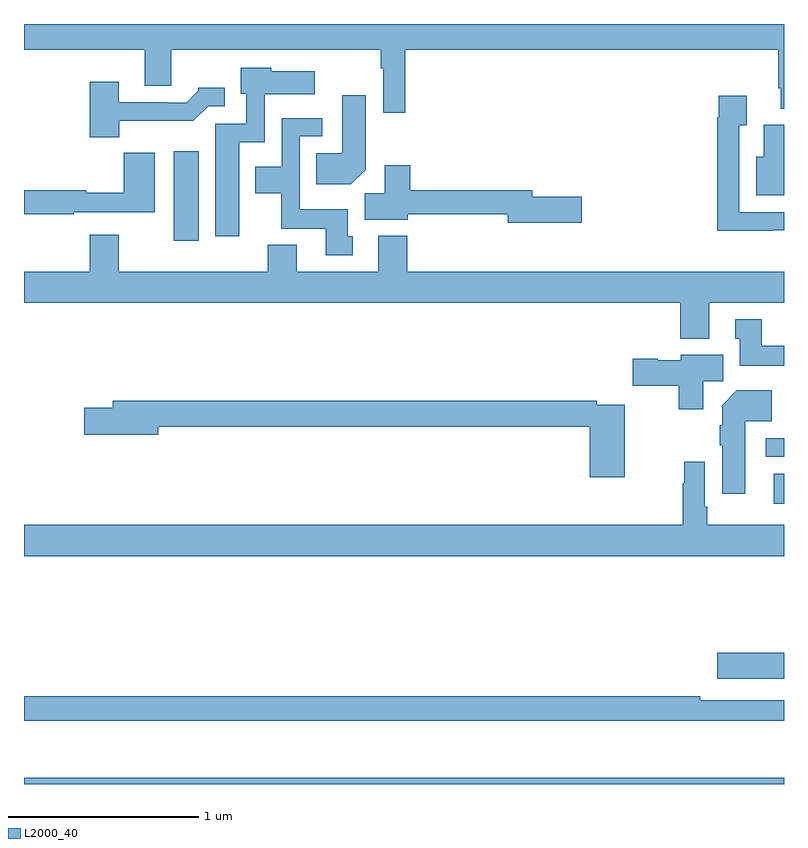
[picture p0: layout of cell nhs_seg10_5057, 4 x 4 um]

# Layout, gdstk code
import gdstk
lib = gdstk.Library(unit=1e-6, precision=1e-09)
def R(c, l, rs):  # rectangles x0, y0, x1, y1
    for r in rs: c.add(gdstk.rectangle(r[:2], r[2:], *l))
def P(c, l, *ps):  # polygons
    for p in ps: c.add(gdstk.Polygon(p, *l))
L2000_40 = (2000, 40)

nhs_seg10_5057 = lib.new_cell('nhs_seg10_5057')
R(nhs_seg10_5057, L2000_40, [(405,1248.5,409,1248.532), (408.648,1249.055,409,1249.19), (408.945,1249.976,409,1250.134), (408.903,1250.223,409,1250.319), (405.788,1251.36,405.919,1251.829)])
P(nhs_seg10_5057, L2000_40, [(408.971,1252.162),(408.983,1252.162),(408.983,1252.055),(409,1252.055),(409,1252.5),(405,1252.5),(405,1252.364),(405.635,1252.364),(405.635,1252.174),(405.775,1252.174),(405.775,1252.364),(406.878,1252.364),(406.878,1252.268),(406.89,1252.268),(406.89,1252.032),(407.006,1252.032),(407.006,1252.364),(408.971,1252.364)],
  [(406.132,1251.878),(406.266,1251.878),(406.266,1252.13),(406.531,1252.13),(406.531,1252.252),(406.302,1252.252),(406.302,1252.27),(406.142,1252.27),(406.142,1252.134),(406.17,1252.134),(406.17,1251.975),(406.007,1251.975),(406.007,1251.384),(406.132,1251.384)],
  [(405.502,1251.99),(405.891,1251.99),(405.969,1252.068),(406.057,1252.068),(406.057,1252.165),(405.918,1252.165),(405.918,1252.15),(405.854,1252.086),(405.755,1252.086),(405.755,1252.089),(405.499,1252.089),(405.499,1252.195),(405.347,1252.195),(405.347,1251.905),(405.502,1251.905)],
  [(406.798,1251.734),(406.798,1252.126),(406.676,1252.126),(406.676,1251.82),(406.537,1251.82),(406.537,1251.656),(406.72,1251.656)],
  [(408.941,1251.414),(409,1251.414),(409,1251.51),(408.765,1251.51),(408.765,1251.967),(408.805,1251.967),(408.805,1252.123),(408.657,1252.123),(408.657,1252.01),(408.649,1252.01),(408.649,1251.413),(408.941,1251.413)],
  [(406.729,1251.384),(406.705,1251.384),(406.705,1251.526),(406.452,1251.526),(406.452,1251.909),(406.57,1251.909),(406.57,1252.005),(406.356,1252.005),(406.356,1251.748),(406.217,1251.748),(406.217,1251.608),(406.354,1251.608),(406.354,1251.422),(406.589,1251.422),(406.589,1251.282),(406.729,1251.282)],
  [(409,1251.97),(408.893,1251.97),(408.893,1251.802),(408.854,1251.802),(408.854,1251.599),(409,1251.599)],
  [(405.263,1251.51),(405.688,1251.51),(405.688,1251.823),(405.526,1251.823),(405.526,1251.611),(405.328,1251.611),(405.328,1251.626),(405,1251.626),(405,1251.498),(405.263,1251.498)],
  [(407.935,1251.59),(407.674,1251.59),(407.674,1251.626),(407.033,1251.626),(407.033,1251.757),(406.898,1251.757),(406.898,1251.608),(406.793,1251.608),(406.793,1251.47),(407.02,1251.47),(407.02,1251.498),(407.546,1251.498),(407.546,1251.455),(407.935,1251.455)],
  [(408.607,1251.032),(409,1251.032),(409,1251.196),(407.018,1251.196),(407.018,1251.385),(406.865,1251.385),(406.865,1251.196),(406.435,1251.196),(406.435,1251.337),(406.283,1251.337),(406.283,1251.196),(405.499,1251.196),(405.499,1251.391),(405.347,1251.391),(405.347,1251.196),(405,1251.196),(405,1251.032),(408.455,1251.032),(408.455,1250.843),(408.607,1250.843)],
  [(409,1250.806),(408.883,1250.806),(408.883,1250.947),(408.743,1250.947),(408.743,1250.844),(408.767,1250.844),(408.767,1250.702),(409,1250.702)],
  [(408.574,1250.62),(408.679,1250.62),(408.679,1250.758),(408.456,1250.758),(408.456,1250.731),(408.336,1250.731),(408.336,1250.739),(408.204,1250.739),(408.204,1250.597),(408.445,1250.597),(408.445,1250.472),(408.574,1250.472)],
  [(408.796,1250.408),(408.935,1250.408),(408.935,1250.572),(408.752,1250.572),(408.674,1250.494),(408.674,1250.387),(408.662,1250.387),(408.662,1250.284),(408.674,1250.284),(408.674,1250.028),(408.796,1250.028)],
  [(408.161,1250.496),(408.014,1250.496),(408.014,1250.516),(405.467,1250.516),(405.467,1250.48),(405.318,1250.48),(405.318,1250.338),(405.706,1250.338),(405.706,1250.38),(407.978,1250.38),(407.978,1250.115),(408.161,1250.115)],
  [(409,1249.864),(408.595,1249.864),(408.595,1249.96),(408.582,1249.96),(408.582,1250.197),(408.474,1250.197),(408.474,1250.084),(408.466,1250.084),(408.466,1249.864),(405,1249.864),(405,1249.7),(409,1249.7)],
  [(409,1248.942),(408.56,1248.942),(408.56,1248.962),(405,1248.962),(405,1248.834),(409,1248.834)])

lib.write_gds('nhs_seg10_5057.gds')
